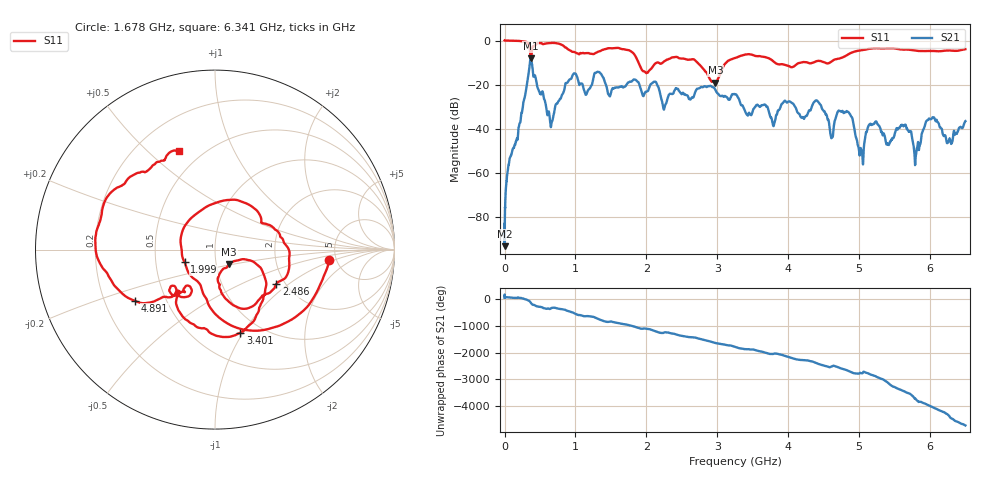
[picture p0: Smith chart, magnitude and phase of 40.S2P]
!Keysight Technologies,E5063A,MY54503115,A.05.08
!Date: Wed Nov 22 14:45:32 2023
!Data & Calibration Information:
!Freq	S11:NONE(--)	S21:NONE(--)	S12:NONE(--)	S22:NONE(--)
# Hz S dB R 50
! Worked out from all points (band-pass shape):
!   10001 points, 100 kHz to 6.5 GHz, reference 50 ohm
!   highest |S21| = -8.01 dB at 368 MHz (marker M1); lowest = -93.2 dB at 1.4 MHz (marker M2)
!   |S21| within 3 dB of the highest: 353.1 MHz to 388.6 MHz (35.49 MHz wide, 9.57 % of centre)
!   lowest |S11| = -19.0 dB at 2.973 GHz (marker M3), VSWR 1.25, Z = 57.6 - j9.39 ohm
!   |S11| at or under -10 dB: 1.889 GHz to 2.153 GHz (264.3 MHz wide, 13.1 % of centre); 2.719 GHz to 3.125 GHz (405.5 MHz wide, 13.9 % of centre); 3.812 GHz to 4.17 GHz (358.5 MHz wide, 8.98 % of centre) (the widest 3 of 6)
!   S12 and S22 are empty: the file has one direction only
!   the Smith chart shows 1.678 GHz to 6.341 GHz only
!   S11 on the Smith chart (normalised r, x): 1.678 GHz: 4.32, -0.84; 1.999 GHz: 0.70, -0.10; 2.486 GHz: 1.79, -0.82; 3.401 GHz: 0.80, -0.97; 4.891 GHz: 0.33, -0.26; 6.341 GHz: 0.38, +0.63
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100000  0.05 -0.6  -83.05 61.9  -200.00 0.0  -200.00 0.0
1399980  -0.00 -0.8  -93.20 154.7  -200.00 0.0  -200.00 0.0
2.288965e8  -0.24 -75.6  -35.24 59.3  -200.00 0.0  -200.00 0.0
3.679943e8  -9.27 -135.5  -8.01 -117.6  -200.00 0.0  -200.00 0.0
5.84441e8  -1.31 170.4  -29.75 12.1  -200.00 0.0  -200.00 0.0
7.339387e8  -1.23 96.2  -28.68 25.6  -200.00 0.0  -200.00 0.0
8.710866e8  -3.28 5.1  -19.18 -54.4  -200.00 0.0  -200.00 0.0
1.083633e9  -5.80 -160.6  -19.46 117.9  -200.00 0.0  -200.00 0.0
1.398228e9  -4.07 80.5  -17.21 -92.4  -200.00 0.0  -200.00 0.0
1.677724e9  -3.93 -5.2  -21.19 153.3  -200.00 0.0  -200.00 0.0
1.998819e9  -14.72 -157.6  -23.19 -24.1  -200.00 0.0  -200.00 0.0
2.167167e9  -9.97 39.7  -20.97 -152.4  -200.00 0.0  -200.00 0.0
2.485662e9  -8.13 -29.5  -23.86 76.5  -200.00 0.0  -200.00 0.0
2.973154e9  -19.02 -46.0  -22.25 160.2  -200.00 0.0  -200.00 0.0
3.25005e9  -7.94 -51.0  -24.39 16.3  -200.00 0.0  -200.00 0.0
3.401498e9  -6.30 -73.1  -32.67 -73.0  -200.00 0.0  -200.00 0.0
4.333583e9  -10.17 -129.3  -29.92 -169.8  -200.00 0.0  -200.00 0.0
4.890625e9  -5.54 -147.1  -34.53 147.0  -200.00 0.0  -200.00 0.0
5.030373e9  -4.39 -163.6  -49.58 104.0  -200.00 0.0  -200.00 0.0
5.417117e9  -3.50 159.5  -47.29 81.0  -200.00 0.0  -200.00 0.0
6.340752e9  -4.66 110.1  -41.09 132.1  -200.00 0.0  -200.00 0.0
6.5e9  -3.90 106.2  -36.50 -64.5  -200.00 0.0  -200.00 0.0
